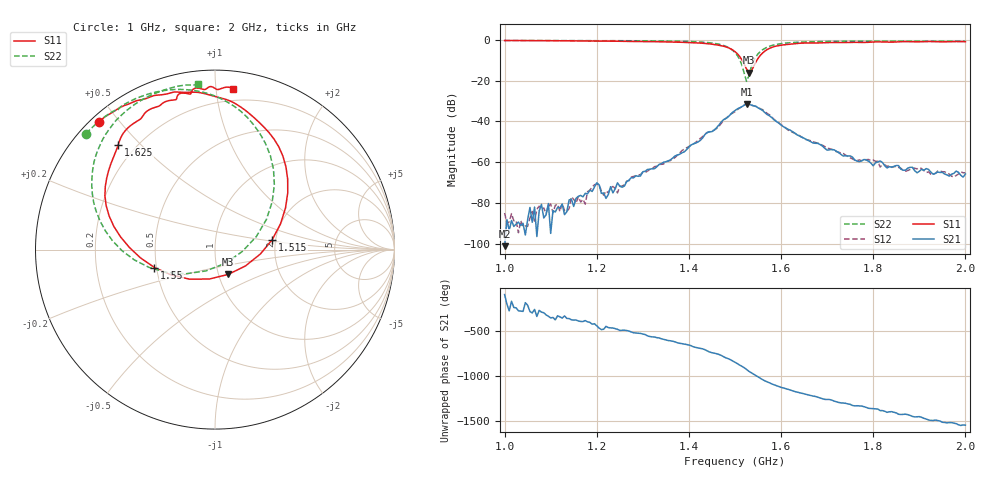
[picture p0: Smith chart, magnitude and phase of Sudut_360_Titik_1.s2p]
# Hz S RI R 50
! CMT, C1220, 16058040, 17.2.0/1
! Date: 14/08/2018 12:59:41
! Data: Format (Calibration Info)
! Freq  S11: Re/Im (F2)  S21: Re/Im (F2)  S12: Re/Im (F2)  S22: Re/Im (F2)
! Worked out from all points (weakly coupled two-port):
!   201 points, 1 GHz to 2 GHz, reference 50 ohm
!   highest |S21| = -31.45 dB at 1.525 GHz (marker M1); lowest = -101.2 dB at 1 GHz (marker M2)
!   lowest |S11| = -16.1 dB at 1.53 GHz (marker M3), VSWR 1.37, Z = 55.6 - j15.8 ohm
!   |S11| at or under -10 dB: 1.515 GHz to 1.548 GHz (32.09 MHz wide, 2.1 % of centre)
!   |S22| runs from -20.4 to -0.3 dB; largest |S21 - S12| = 0.0011
!   S11 on the Smith chart (normalised r, x): 1 GHz: 0.02, +0.44; 1.515 GHz: 1.92, +0.24; 1.55 GHz: 0.49, -0.11; 1.625 GHz: 0.14, +0.43; 2 GHz: 0.11, +1.11
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1e9  -0.6481 0.7117  -1.14e-06 -8.59e-06  3.58e-05 4.36e-05  -0.719 0.646
1.17e9  -0.464 0.8183  0.000113 -8.34e-05  0.000116 -3.76e-05  -0.5765 0.7658
1.175e9  -0.4571 0.8216  0.000155 -7.34e-05  9.04e-05 -2.25e-05  -0.5708 0.7688
1.18e9  -0.4497 0.8247  0.000128 -0.000107  0.000139 -0.000127  -0.5655 0.7718
1.2e9  -0.4207 0.8329  2.59e-05 -0.000309  -2.72e-05 -0.000283  -0.5427 0.7779
1.22e9  -0.3933 0.839  -2.83e-07 -0.000129  -4.43e-05 -0.00019  -0.5306 0.7913
1.23e9  -0.3767 0.8444  -7.18e-05 -0.000239  -4.94e-05 -0.000225  -0.5195 0.8003
1.235e9  -0.3684 0.8475  -5.36e-05 -0.000167  -0.000143 -0.000208  -0.5136 0.8043
1.245e9  -0.3525 0.8541  -0.000166 -0.000262  -0.000103 -0.000143  -0.5012 0.8114
1.255e9  -0.3376 0.8586  -0.000167 -0.000175  -0.00016 -0.000202  -0.4877 0.8189
1.335e9  -0.1942 0.8765  -0.000688 0.000538  -0.0006 0.000638  -0.3597 0.8701
1.45e9  0.1898 0.7592  0.0052 -0.00212  0.00526 -0.00245  0.0469 0.8339
1.5e9  0.4054 0.3164  -0.0112 -0.0146  -0.0105 -0.0137  0.3308 0.3607
1.515e9  0.319 0.0554  -0.0227 -0.0032  -0.0228 -0.00378  0.2298 0.072
1.525e9  0.1701 -0.0908  -0.0239 0.0121  -0.0241 0.0121  0.0588 -0.0759
1.53e9  0.074 -0.1381  -0.0178 0.0191  -0.0179 0.0192  -0.0501 -0.1187
1.55e9  -0.3371 -0.0998  0.00783 0.02  0.00713 0.0203  -0.4496 -0.0574
1.58e9  -0.6064 0.2452  0.0122 -0.00169  0.0125 -0.00222  -0.6764 0.2654
1.625e9  -0.5395 0.5834  0.000583 -0.00557  0.000709 -0.00535  -0.6494 0.5622
1.67e9  -0.4259 0.7203  -0.00232 -0.0018  -0.0025 -0.00192  -0.5662 0.7014
1.835e9  -0.1393 0.8662  0.000557 0.000539  0.00064 0.000526  -0.3146 0.8785
2e9  0.0976 0.8974  -0.000127 -0.000494  -0.000135 -0.000531  -0.0971 0.9225
